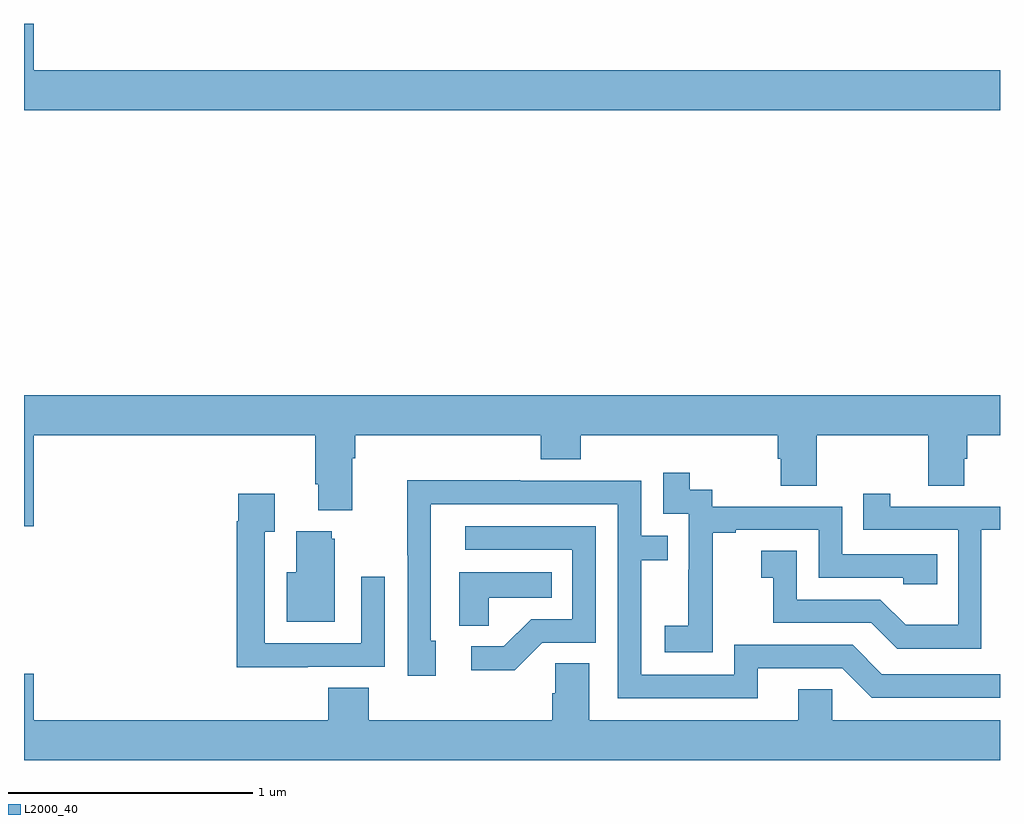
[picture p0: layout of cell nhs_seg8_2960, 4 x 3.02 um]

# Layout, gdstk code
import gdstk
lib = gdstk.Library(unit=1e-6, precision=1e-09)
def P(c, l, *ps):  # polygons
    for p in ps: c.add(gdstk.Polygon(p, *l))
L2000_40 = (2000, 40)

nhs_seg8_2960 = lib.new_cell('nhs_seg8_2960')
P(nhs_seg8_2960, L2000_40, [(301,1091.356),(297.04,1091.356),(297.04,1091.545),(297,1091.545),(297,1091.192),(301,1091.192)],
  [(297.04,1089.86),(298.193,1089.86),(298.193,1089.658),(298.205,1089.658),(298.205,1089.551),(298.345,1089.551),(298.345,1089.764),(298.358,1089.764),(298.358,1089.86),(299.117,1089.86),(299.117,1089.761),(299.282,1089.761),(299.282,1089.86),(300.089,1089.86),(300.089,1089.762),(300.101,1089.762),(300.101,1089.652),(300.249,1089.652),(300.249,1089.86),(300.706,1089.86),(300.706,1089.652),(300.853,1089.652),(300.853,1089.762),(300.866,1089.762),(300.866,1089.86),(301,1089.86),(301,1090.024),(297,1090.024),(297,1089.486),(297.04,1089.486)],
  [(299.823,1089.175),(299.822,1089.175),(299.822,1089.459),(299.917,1089.459),(299.917,1089.471),(300.258,1089.471),(300.258,1089.276),(300.603,1089.276),(300.603,1089.249),(300.743,1089.249),(300.743,1089.372),(300.354,1089.372),(300.354,1089.567),(299.82,1089.567),(299.82,1089.636),(299.728,1089.636),(299.728,1089.706),(299.619,1089.706),(299.619,1089.537),(299.724,1089.537),(299.724,1089.308),(299.723,1089.308),(299.723,1089.079),(299.625,1089.079),(299.625,1088.969),(299.823,1088.969)],
  [(300.007,1088.904),(300.354,1088.904),(300.474,1088.784),(301,1088.784),(301,1088.88),(300.516,1088.88),(300.396,1089),(299.91,1089),(299.91,1088.877),(299.529,1088.877),(299.529,1089.346),(299.639,1089.346),(299.639,1089.447),(299.529,1089.447),(299.529,1089.672),(299.033,1089.672),(299.033,1089.674),(298.57,1089.674),(298.57,1089.367),(298.572,1089.367),(298.572,1088.874),(298.687,1088.874),(298.687,1089.018),(298.668,1089.018),(298.668,1089.576),(299.433,1089.576),(299.433,1088.781),(300.007,1088.781)],
  [(298.163,1088.91),(298.479,1088.91),(298.479,1089.28),(298.383,1089.28),(298.383,1089.006),(297.987,1089.006),(297.987,1089.463),(298.027,1089.463),(298.027,1089.619),(297.879,1089.619),(297.879,1089.506),(297.871,1089.506),(297.871,1088.909),(298.163,1088.909)],
  [(300.924,1089.471),(301,1089.471),(301,1089.567),(300.55,1089.567),(300.55,1089.619),(300.439,1089.619),(300.439,1089.471),(300.828,1089.471),(300.828,1089.082),(300.614,1089.082),(300.51,1089.186),(300.168,1089.186),(300.168,1089.385),(300.021,1089.385),(300.021,1089.275),(300.07,1089.275),(300.07,1089.09),(300.473,1089.09),(300.578,1088.985),(300.924,1088.985)],
  [(299.124,1089.009),(299.343,1089.009),(299.343,1089.486),(298.809,1089.486),(298.809,1089.39),(299.247,1089.39),(299.247,1089.105),(299.078,1089.105),(298.967,1088.994),(298.833,1088.994),(298.833,1088.897),(299.011,1088.897)],
  [(298.273,1089.435),(298.262,1089.435),(298.262,1089.466),(298.115,1089.466),(298.115,1089.298),(298.076,1089.298),(298.076,1089.095),(298.273,1089.095)],
  [(298.905,1089.194),(299.162,1089.194),(299.162,1089.298),(298.784,1089.298),(298.784,1089.079),(298.905,1089.079)],
  [(301,1088.692),(300.312,1088.692),(300.312,1088.819),(300.173,1088.819),(300.173,1088.692),(299.317,1088.692),(299.317,1088.924),(299.178,1088.924),(299.178,1088.801),(299.165,1088.801),(299.165,1088.692),(298.412,1088.692),(298.412,1088.825),(298.247,1088.825),(298.247,1088.692),(297.04,1088.692),(297.04,1088.881),(297,1088.881),(297,1088.528),(301,1088.528)])

lib.write_gds('nhs_seg8_2960.gds')
